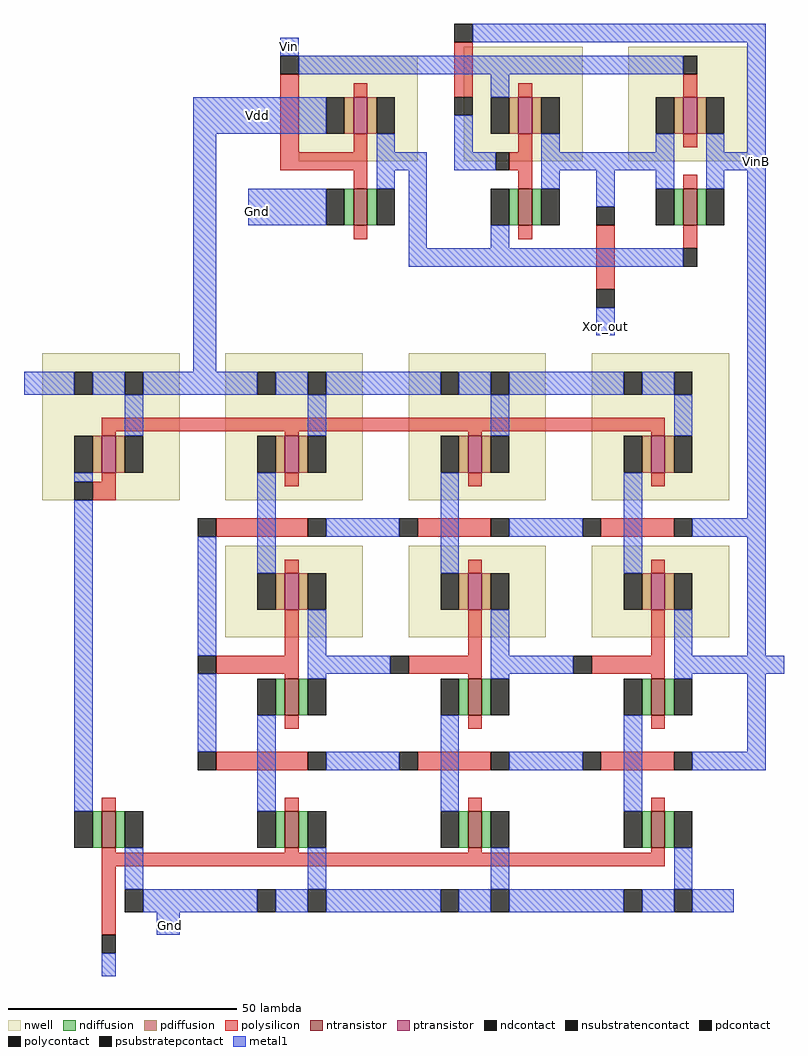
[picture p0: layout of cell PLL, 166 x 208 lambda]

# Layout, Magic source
magic
tech min2
<< nwell >>
rect -95 -279 -69 -256
rect -59 -279 -33 -254
rect -23 -279 3 -254
<< ntransistor >>
rect -83 -293 -80 -285
rect -47 -293 -44 -285
rect -11 -293 -8 -285
<< ptransistor >>
rect -83 -273 -80 -265
rect -47 -273 -44 -265
rect -11 -273 -8 -265
<< ndiffusion >>
rect -85 -293 -83 -285
rect -80 -293 -78 -285
rect -49 -293 -47 -285
rect -44 -293 -42 -285
rect -13 -293 -11 -285
rect -8 -293 -6 -285
<< pdiffusion >>
rect -85 -273 -83 -265
rect -80 -273 -78 -265
rect -49 -273 -47 -265
rect -44 -273 -42 -265
rect -13 -273 -11 -265
rect -8 -273 -6 -265
<< ndcontact >>
rect -89 -293 -85 -285
rect -78 -293 -74 -285
rect -53 -293 -49 -285
rect -42 -293 -38 -285
rect -17 -293 -13 -285
rect -6 -293 -2 -285
<< pdcontact >>
rect -89 -273 -85 -265
rect -78 -273 -74 -265
rect -53 -273 -49 -265
rect -42 -273 -38 -265
rect -17 -273 -13 -265
rect -6 -273 -2 -265
<< polysilicon >>
rect -99 -277 -95 -260
rect -83 -265 -80 -262
rect -61 -265 -57 -253
rect -47 -265 -44 -262
rect -11 -265 -8 -260
rect -83 -277 -80 -273
rect -47 -277 -44 -273
rect -11 -276 -8 -273
rect -99 -281 -80 -277
rect -49 -281 -44 -277
rect -83 -285 -80 -281
rect -47 -285 -44 -281
rect -11 -285 -8 -282
rect -83 -296 -80 -293
rect -47 -296 -44 -293
rect -30 -307 -26 -293
rect -11 -298 -8 -293
<< polycontact >>
rect -61 -253 -57 -249
rect -99 -260 -95 -256
rect -11 -260 -8 -256
rect -61 -269 -57 -265
rect -52 -281 -49 -277
rect -30 -293 -26 -289
rect -11 -302 -8 -298
rect -30 -311 -26 -307
<< metal1 >>
rect -99 -256 -95 -252
rect -57 -253 7 -249
rect -95 -260 -11 -256
rect -53 -265 -49 -260
rect -118 -273 -89 -265
rect -118 -330 -113 -273
rect -78 -277 -74 -273
rect -61 -277 -57 -269
rect -42 -277 -38 -273
rect -17 -277 -13 -273
rect -78 -281 -67 -277
rect -61 -281 -52 -277
rect -42 -281 -13 -277
rect -78 -285 -74 -281
rect -106 -293 -89 -285
rect -71 -298 -67 -281
rect -42 -285 -38 -281
rect -30 -289 -26 -281
rect -17 -285 -13 -281
rect -6 -277 -2 -273
rect 3 -277 7 -253
rect -6 -281 7 -277
rect -6 -285 -2 -281
rect -53 -298 -49 -293
rect -71 -302 -11 -298
rect -30 -317 -26 -311
rect 3 -361 7 -281
rect -126 -448 -121 -438
use VCO  VCO_0
transform 1 0 -148 0 1 -350
box -7 -107 159 29
<< labels >>
rlabel metal1 -28 -315 -28 -315 1 Xor_out
rlabel metal1 5 -279 5 -279 7 VinB
rlabel metal1 -104 -290 -104 -290 3 Gnd
rlabel metal1 -104 -269 -104 -269 3 Vdd
rlabel metal1 -97 -254 -97 -254 5 Vin
rlabel metal1 -123 -446 -123 -446 1 Gnd
<< end >>

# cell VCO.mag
magic
tech min2
<< nwell >>
rect -3 -3 27 29
rect 37 -3 67 29
rect 77 -3 107 29
rect 117 -3 147 29
rect 37 -33 67 -13
rect 77 -33 107 -13
rect 117 -33 147 -13
<< ntransistor >>
rect 50 -50 53 -42
rect 90 -50 93 -42
rect 130 -50 133 -42
rect 10 -79 13 -71
rect 50 -79 53 -71
rect 90 -79 93 -71
rect 130 -79 133 -71
<< ptransistor >>
rect 10 3 13 11
rect 50 3 53 11
rect 90 3 93 11
rect 130 3 133 11
rect 50 -27 53 -19
rect 90 -27 93 -19
rect 130 -27 133 -19
<< ndiffusion >>
rect 48 -50 50 -42
rect 53 -50 55 -42
rect 88 -50 90 -42
rect 93 -50 95 -42
rect 128 -50 130 -42
rect 133 -50 135 -42
rect 8 -79 10 -71
rect 13 -79 15 -71
rect 48 -79 50 -71
rect 53 -79 55 -71
rect 88 -79 90 -71
rect 93 -79 95 -71
rect 128 -79 130 -71
rect 133 -79 135 -71
<< pdiffusion >>
rect 8 3 10 11
rect 13 3 15 11
rect 48 3 50 11
rect 53 3 55 11
rect 88 3 90 11
rect 93 3 95 11
rect 128 3 130 11
rect 133 3 135 11
rect 48 -27 50 -19
rect 53 -27 55 -19
rect 88 -27 90 -19
rect 93 -27 95 -19
rect 128 -27 130 -19
rect 133 -27 135 -19
<< ndcontact >>
rect 44 -50 48 -42
rect 55 -50 59 -42
rect 84 -50 88 -42
rect 95 -50 99 -42
rect 124 -50 128 -42
rect 135 -50 139 -42
rect 4 -79 8 -71
rect 15 -79 19 -71
rect 44 -79 48 -71
rect 55 -79 59 -71
rect 84 -79 88 -71
rect 95 -79 99 -71
rect 124 -79 128 -71
rect 135 -79 139 -71
<< pdcontact >>
rect 4 3 8 11
rect 15 3 19 11
rect 44 3 48 11
rect 55 3 59 11
rect 84 3 88 11
rect 95 3 99 11
rect 124 3 128 11
rect 135 3 139 11
rect 44 -27 48 -19
rect 55 -27 59 -19
rect 84 -27 88 -19
rect 95 -27 99 -19
rect 124 -27 128 -19
rect 135 -27 139 -19
<< psubstratepcontact >>
rect 15 -93 19 -88
rect 44 -93 48 -88
rect 55 -93 59 -88
rect 84 -93 88 -88
rect 95 -93 99 -88
rect 124 -93 128 -88
rect 135 -93 139 -88
<< nsubstratencontact >>
rect 4 20 8 25
rect 15 20 19 25
rect 44 20 48 25
rect 55 20 59 25
rect 84 20 88 25
rect 95 20 99 25
rect 124 20 128 25
rect 135 20 139 25
<< polysilicon >>
rect 10 12 133 15
rect 10 11 13 12
rect 50 11 53 12
rect 90 11 93 12
rect 130 11 133 12
rect 10 1 13 3
rect 8 -3 13 1
rect 50 0 53 3
rect 90 0 93 3
rect 130 0 133 3
rect 35 -11 55 -7
rect 79 -11 95 -7
rect 119 -11 135 -7
rect 50 -19 53 -16
rect 90 -19 93 -16
rect 130 -19 133 -16
rect 50 -37 53 -27
rect 90 -37 93 -27
rect 130 -37 133 -27
rect 35 -41 53 -37
rect 77 -41 93 -37
rect 117 -41 133 -37
rect 50 -42 53 -41
rect 90 -42 93 -41
rect 130 -42 133 -41
rect 50 -53 53 -50
rect 90 -53 93 -50
rect 130 -53 133 -50
rect 35 -62 55 -58
rect 79 -62 95 -58
rect 119 -62 135 -58
rect 10 -71 13 -68
rect 50 -71 53 -68
rect 90 -71 93 -68
rect 130 -71 133 -68
rect 10 -80 13 -79
rect 50 -80 53 -79
rect 90 -80 93 -79
rect 130 -80 133 -79
rect 10 -83 133 -80
rect 10 -98 13 -83
<< polycontact >>
rect 4 -3 8 1
rect 31 -11 35 -7
rect 55 -11 59 -7
rect 75 -11 79 -7
rect 95 -11 99 -7
rect 115 -11 119 -7
rect 135 -11 139 -7
rect 31 -41 35 -37
rect 73 -41 77 -37
rect 113 -41 117 -37
rect 31 -62 35 -58
rect 55 -62 59 -58
rect 75 -62 79 -58
rect 95 -62 99 -58
rect 115 -62 119 -58
rect 135 -62 139 -58
rect 10 -102 13 -98
<< metal1 >>
rect -7 20 4 25
rect 8 20 15 25
rect 19 20 44 25
rect 48 20 55 25
rect 59 20 84 25
rect 88 20 95 25
rect 99 20 124 25
rect 128 20 135 25
rect 15 11 19 20
rect 55 11 59 20
rect 95 11 99 20
rect 135 11 139 20
rect 4 1 8 3
rect 4 -71 8 -3
rect 31 -37 35 -11
rect 44 -19 48 3
rect 59 -11 75 -7
rect 84 -19 88 3
rect 99 -11 115 -7
rect 124 -19 128 3
rect 139 -11 155 -7
rect 31 -58 35 -41
rect 55 -37 59 -27
rect 95 -37 99 -27
rect 135 -37 139 -27
rect 151 -37 155 -11
rect 55 -41 73 -37
rect 95 -41 113 -37
rect 135 -41 159 -37
rect 55 -42 59 -41
rect 95 -42 99 -41
rect 135 -42 139 -41
rect 44 -71 48 -50
rect 59 -62 75 -58
rect 84 -71 88 -50
rect 99 -62 115 -58
rect 124 -71 128 -50
rect 151 -58 155 -41
rect 139 -62 155 -58
rect 15 -88 19 -79
rect 55 -88 59 -79
rect 95 -88 99 -79
rect 135 -88 139 -79
rect 19 -93 44 -88
rect 48 -93 55 -88
rect 59 -93 84 -88
rect 88 -93 95 -88
rect 99 -93 124 -88
rect 128 -93 135 -88
rect 139 -93 148 -88
rect 10 -107 13 -102
<< labels >>
rlabel metal1 11 -105 11 -105 1 Vctrl
rlabel metal1 145 -91 145 -91 1 Gnd
rlabel metal1 157 -39 157 -39 7 Vout
rlabel metal1 -5 22 -5 22 3 Vdd
<< end >>
